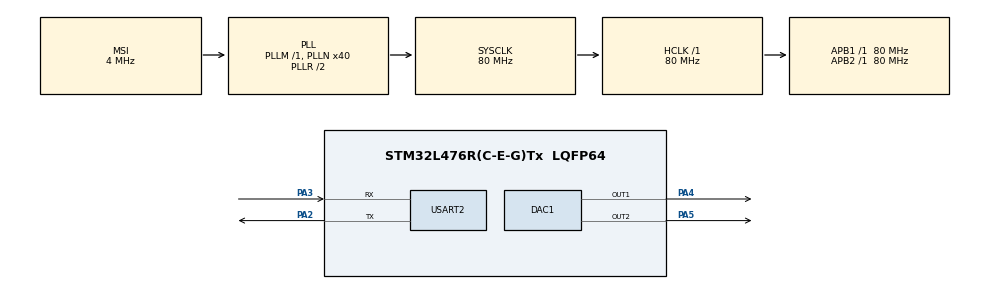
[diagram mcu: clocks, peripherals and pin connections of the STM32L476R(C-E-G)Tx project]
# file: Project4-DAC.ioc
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DAC1.DAC_Channel-DAC_OUT2=DAC_CHANNEL_2
DAC1.DAC_OutputBuffer-DAC_OUT1=DAC_OUTPUTBUFFER_ENABLE
DAC1.DAC_Trigger-DAC_OUT1=DAC_TRIGGER_T2_TRGO
DAC1.DAC_Trigger-DAC_OUT2=DAC_TRIGGER_T5_TRGO
Dma.DAC_CH1.0.Direction=DMA_MEMORY_TO_PERIPH
Dma.DAC_CH1.0.Instance=DMA1_Channel3
Dma.DAC_CH1.0.MemDataAlignment=DMA_MDATAALIGN_WORD
Dma.DAC_CH1.0.MemInc=DMA_MINC_ENABLE
Dma.DAC_CH1.0.Mode=DMA_CIRCULAR
Dma.DAC_CH1.0.PeriphDataAlignment=DMA_PDATAALIGN_WORD
Dma.DAC_CH1.0.PeriphInc=DMA_PINC_DISABLE
Dma.DAC_CH1.0.Priority=DMA_PRIORITY_LOW
Dma.DAC_CH2.1.Direction=DMA_MEMORY_TO_PERIPH
Dma.DAC_CH2.1.Instance=DMA1_Channel4
Dma.DAC_CH2.1.MemDataAlignment=DMA_MDATAALIGN_WORD
Dma.DAC_CH2.1.MemInc=DMA_MINC_ENABLE
Dma.DAC_CH2.1.Mode=DMA_CIRCULAR
Dma.DAC_CH2.1.PeriphDataAlignment=DMA_PDATAALIGN_WORD
Dma.DAC_CH2.1.PeriphInc=DMA_PINC_DISABLE
Dma.DAC_CH2.1.Priority=DMA_PRIORITY_LOW
Dma.Request0=DAC_CH1
Dma.Request1=DAC_CH2
FREERTOS.Queues01=CommandQueue,32,uint64_t,0,Dynamic,NULL,NULL
FREERTOS.RecursiveMutexes01=MUTEX,Dynamic,NULL
FREERTOS.Tasks01=Recieve,24,256,StartRecieve,Default,NULL,Dynamic,NULL,NULL;Process,24,256,StartProcess,Default,NULL,Dynamic,NULL,NULL
FREERTOS.configMINIMAL_STACK_SIZE=256
FREERTOS.configTOTAL_HEAP_SIZE=9000
FREERTOS.configUSE_IDLE_HOOK=0
FREERTOS.configUSE_NEWLIB_REENTRANT=1
FREERTOS.configUSE_PREEMPTION=1
Mcu.Family=STM32L4
Mcu.Name=STM32L476R(C-E-G)Tx
Mcu.Package=LQFP64
NVIC.DMA1_Channel3_IRQn=true\:5\:0\:false\:false\:true\:true\:false\:true\:true
NVIC.DMA1_Channel4_IRQn=true\:5\:0\:false\:false\:true\:true\:false\:true\:true
NVIC.PriorityGroup=NVIC_PRIORITYGROUP_4
PA2.Mode=Asynchronous
PA2.Signal=USART2_TX
PA3.Mode=Asynchronous
PA3.Signal=USART2_RX
PA4.Signal=COMP_DAC11_group
PA5.Signal=COMP_DAC12_group
ProjectManager.HeapSize=0x200
ProjectManager.StackSize=0x400
ProjectManager.TargetToolchain=STM32CubeIDE
RCC.ADCFreq_Value=32000000
RCC.AHBFreq_Value=80000000
RCC.APB1Freq_Value=80000000
RCC.APB1TimFreq_Value=80000000
RCC.APB2Freq_Value=80000000
RCC.APB2TimFreq_Value=80000000
RCC.CortexFreq_Value=80000000
RCC.HCLKFreq_Value=80000000
RCC.HSE_VALUE=8000000
RCC.HSI_VALUE=16000000
RCC.LSE_VALUE=32768
RCC.MSI_VALUE=4000000
RCC.PLLN=40
RCC.PLLSAI1N=16
RCC.SYSCLKFreq_VALUE=80000000
RCC.SYSCLKSource=RCC_SYSCLKSOURCE_PLLCLK
RCC.USBFreq_Value=32000000
RCC.VCOOutputFreq_Value=160000000
SH.COMP_DAC11_group.0=DAC1_OUT1,DAC_OUT1
SH.COMP_DAC12_group.0=DAC1_OUT2,DAC_OUT2
TIM2.Period=1000
TIM2.TIM_MasterOutputTrigger=TIM_TRGO_UPDATE
TIM5.Period=1000
TIM5.TIM_MasterOutputTrigger=TIM_TRGO_UPDATE
USART2.VirtualMode-Asynchronous=VM_ASYNC
VP_FREERTOS_VS_CMSIS_V2.Mode=CMSIS_V2
VP_RNG_VS_RNG.Mode=RNG_Activate
VP_TIM2_VS_ClockSourceINT.Mode=Internal
VP_TIM5_VS_ClockSourceINT.Mode=Internal
board=custom

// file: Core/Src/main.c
/* USER CODE BEGIN Header */
/**
  ******************************************************************************
  * @file           : main.c
  * @brief          : Main program body
  ******************************************************************************
  * @attention
  *
  * Copyright (c) 2024 STMicroelectronics.
  * All rights reserved.
  *
  * This software is licensed under terms that can be found in the LICENSE file
  * in the root directory of this software component.
  * If no LICENSE file comes with this software, it is provided AS-IS.
  *
  ******************************************************************************
  */
/* USER CODE END Header */
#include "main.h"
#include "cmsis_os.h"

DAC_HandleTypeDef hdac1;
DMA_HandleTypeDef hdma_dac_ch1;
DMA_HandleTypeDef hdma_dac_ch2;

RNG_HandleTypeDef hrng;

TIM_HandleTypeDef htim2;
TIM_HandleTypeDef htim5;

UART_HandleTypeDef huart2;

/* Definitions for Recieve */
osThreadId_t RecieveHandle;
const osThreadAttr_t Recieve_attributes = {
  .name = "Recieve",
  .stack_size = 256 * 4,
  .priority = (osPriority_t) osPriorityNormal,
};
/* Definitions for Process */
osThreadId_t ProcessHandle;
const osThreadAttr_t Process_attributes = {
  .name = "Process",
  .stack_size = 256 * 4,
  .priority = (osPriority_t) osPriorityNormal,
};
/* Definitions for CommandQueue */
osMessageQueueId_t CommandQueueHandle;
const osMessageQueueAttr_t CommandQueue_attributes = {
  .name = "CommandQueue"
};
/* Definitions for MUTEX */
osMutexId_t MUTEXHandle;
const osMutexAttr_t MUTEX_attributes = {
  .name = "MUTEX",
  .attr_bits = osMutexRecursive,
};

void SystemClock_Config(void);
static void MX_GPIO_Init(void);
static void MX_DMA_Init(void);
static void MX_DAC1_Init(void);
static void MX_RNG_Init(void);
static void MX_TIM2_Init(void);
static void MX_USART2_UART_Init(void);
static void MX_TIM5_Init(void);
void StartRecieve(void *argument);
void StartProcess(void *argument);

/* USER CODE BEGIN 0 */
struct user_command *command;
/* USER CODE END 0 */

int main(void)
{
  /* USER CODE BEGIN 1 */
	command = (struct user_command *)malloc(sizeof(struct user_command));
		if(command == NULL){
			exit(99);
		}
		command->channel = 0;
		command->frequency = 0.0;
		command->maxv = 0.0;
		command->minv = 0.0;
		command->noise = 0;
		command->wave = 'n';

  /* USER CODE END 1 */

  /* MCU Configuration--------------------------------------------------------*/

  /* Reset of all peripherals, Initializes the Flash interface and the Systick. */
  HAL_Init();

  /* Configure the system clock */
  SystemClock_Config();

  /* Initialize all configured peripherals */
  MX_GPIO_Init();
  MX_DMA_Init();
  MX_DAC1_Init();
  MX_RNG_Init();
  MX_TIM2_Init();
  MX_USART2_UART_Init();
  MX_TIM5_Init();
  /* USER CODE BEGIN 2 */
  HAL_TIM_Base_Start(&htim2);
  HAL_TIM_Base_Start(&htim5);

  /* USER CODE END 2 */

  /* Init scheduler */
  osKernelInitialize();

  /* Create the recursive mutex(es) */
  /* creation of MUTEX */
  MUTEXHandle = osMutexNew(&MUTEX_attributes);

  /* Create the queue(s) */
  /* creation of CommandQueue */
  CommandQueueHandle = osMessageQueueNew (32, sizeof(uint64_t), &CommandQueue_attributes);

  /* Create the thread(s) */
  /* creation of Recieve */
  RecieveHandle = osThreadNew(StartRecieve, NULL, &Recieve_attributes);

  /* creation of Process */
  ProcessHandle = osThreadNew(StartProcess, NULL, &Process_attributes);

  /* Start scheduler */
  osKernelStart();

  /* We should never get here as control is now taken by the scheduler */
  /* Infinite loop */
  while (1)
  {

  }
}

void SystemClock_Config(void)
{
  RCC_OscInitTypeDef RCC_OscInitStruct = {0};
  RCC_ClkInitTypeDef RCC_ClkInitStruct = {0};

  /** Configure the main internal regulator output voltage
  */
  if (HAL_PWREx_ControlVoltageScaling(PWR_REGULATOR_VOLTAGE_SCALE1) != HAL_OK)
  {
    Error_Handler();
  }

  /** Initializes the RCC Oscillators according to the specified parameters
  * in the RCC_OscInitTypeDef structure.
  */
  RCC_OscInitStruct.OscillatorType = RCC_OSCILLATORTYPE_MSI;
  RCC_OscInitStruct.MSIState = RCC_MSI_ON;
  RCC_OscInitStruct.MSICalibrationValue = 0;
  RCC_OscInitStruct.MSIClockRange = RCC_MSIRANGE_6;
  RCC_OscInitStruct.PLL.PLLState = RCC_PLL_ON;
  RCC_OscInitStruct.PLL.PLLSource = RCC_PLLSOURCE_MSI;
  RCC_OscInitStruct.PLL.PLLM = 1;
  RCC_OscInitStruct.PLL.PLLN = 40;
  RCC_OscInitStruct.PLL.PLLP = RCC_PLLP_DIV7;
  RCC_OscInitStruct.PLL.PLLQ = RCC_PLLQ_DIV2;
  RCC_OscInitStruct.PLL.PLLR = RCC_PLLR_DIV2;
  if (HAL_RCC_OscConfig(&RCC_OscInitStruct) != HAL_OK)
  {
    Error_Handler();
  }

  /** Initializes the CPU, AHB and APB buses clocks
  */
  RCC_ClkInitStruct.ClockType = RCC_CLOCKTYPE_HCLK|RCC_CLOCKTYPE_SYSCLK
                              |RCC_CLOCKTYPE_PCLK1|RCC_CLOCKTYPE_PCLK2;
  RCC_ClkInitStruct.SYSCLKSource = RCC_SYSCLKSOURCE_PLLCLK;
  RCC_ClkInitStruct.AHBCLKDivider = RCC_SYSCLK_DIV1;
  RCC_ClkInitStruct.APB1CLKDivider = RCC_HCLK_DIV1;
  RCC_ClkInitStruct.APB2CLKDivider = RCC_HCLK_DIV1;

  if (HAL_RCC_ClockConfig(&RCC_ClkInitStruct, FLASH_LATENCY_4) != HAL_OK)
  {
    Error_Handler();
  }
}

static void MX_DAC1_Init(void)
{

  DAC_ChannelConfTypeDef sConfig = {0};

  /** DAC Initialization
  */
  hdac1.Instance = DAC1;
  if (HAL_DAC_Init(&hdac1) != HAL_OK)
  {
    Error_Handler();
  }

  /** DAC channel OUT1 config
  */
  sConfig.DAC_SampleAndHold = DAC_SAMPLEANDHOLD_DISABLE;
  sConfig.DAC_Trigger = DAC_TRIGGER_T2_TRGO;
  sConfig.DAC_OutputBuffer = DAC_OUTPUTBUFFER_ENABLE;
  sConfig.DAC_ConnectOnChipPeripheral = DAC_CHIPCONNECT_DISABLE;
  sConfig.DAC_UserTrimming = DAC_TRIMMING_FACTORY;
  if (HAL_DAC_ConfigChannel(&hdac1, &sConfig, DAC_CHANNEL_1) != HAL_OK)
  {
    Error_Handler();
  }

  /** DAC channel OUT2 config
  */
  sConfig.DAC_Trigger = DAC_TRIGGER_T5_TRGO;
  if (HAL_DAC_ConfigChannel(&hdac1, &sConfig, DAC_CHANNEL_2) != HAL_OK)
  {
    Error_Handler();
  }

}

static void MX_RNG_Init(void)
{

  hrng.Instance = RNG;
  if (HAL_RNG_Init(&hrng) != HAL_OK)
  {
    Error_Handler();
  }

}

static void MX_TIM2_Init(void)
{

  TIM_ClockConfigTypeDef sClockSourceConfig = {0};
  TIM_MasterConfigTypeDef sMasterConfig = {0};

  htim2.Instance = TIM2;
  htim2.Init.Prescaler = 0;
  htim2.Init.CounterMode = TIM_COUNTERMODE_UP;
  htim2.Init.Period = 1000;
  htim2.Init.ClockDivision = TIM_CLOCKDIVISION_DIV1;
  htim2.Init.AutoReloadPreload = TIM_AUTORELOAD_PRELOAD_DISABLE;
  if (HAL_TIM_Base_Init(&htim2) != HAL_OK)
  {
    Error_Handler();
  }
  sClockSourceConfig.ClockSource = TIM_CLOCKSOURCE_INTERNAL;
  if (HAL_TIM_ConfigClockSource(&htim2, &sClockSourceConfig) != HAL_OK)
  {
    Error_Handler();
  }
  sMasterConfig.MasterOutputTrigger = TIM_TRGO_UPDATE;
  sMasterConfig.MasterSlaveMode = TIM_MASTERSLAVEMODE_DISABLE;
  if (HAL_TIMEx_MasterConfigSynchronization(&htim2, &sMasterConfig) != HAL_OK)
  {
    Error_Handler();
  }

}

static void MX_TIM5_Init(void)
{

  TIM_ClockConfigTypeDef sClockSourceConfig = {0};
  TIM_MasterConfigTypeDef sMasterConfig = {0};

  htim5.Instance = TIM5;
  htim5.Init.Prescaler = 0;
  htim5.Init.CounterMode = TIM_COUNTERMODE_UP;
  htim5.Init.Period = 1000;
  htim5.Init.ClockDivision = TIM_CLOCKDIVISION_DIV1;
  htim5.Init.AutoReloadPreload = TIM_AUTORELOAD_PRELOAD_DISABLE;
  if (HAL_TIM_Base_Init(&htim5) != HAL_OK)
  {
    Error_Handler();
  }
  sClockSourceConfig.ClockSource = TIM_CLOCKSOURCE_INTERNAL;
  if (HAL_TIM_ConfigClockSource(&htim5, &sClockSourceConfig) != HAL_OK)
  {
    Error_Handler();
  }
  sMasterConfig.MasterOutputTrigger = TIM_TRGO_UPDATE;
  sMasterConfig.MasterSlaveMode = TIM_MASTERSLAVEMODE_DISABLE;
  if (HAL_TIMEx_MasterConfigSynchronization(&htim5, &sMasterConfig) != HAL_OK)
  {
    Error_Handler();
  }

}

static void MX_USART2_UART_Init(void)
{

  huart2.Instance = USART2;
  huart2.Init.BaudRate = 115200;
  huart2.Init.WordLength = UART_WORDLENGTH_8B;
  huart2.Init.StopBits = UART_STOPBITS_1;
  huart2.Init.Parity = UART_PARITY_NONE;
  huart2.Init.Mode = UART_MODE_TX_RX;
  huart2.Init.HwFlowCtl = UART_HWCONTROL_NONE;
  huart2.Init.OverSampling = UART_OVERSAMPLING_16;
  huart2.Init.OneBitSampling = UART_ONE_BIT_SAMPLE_DISABLE;
  huart2.AdvancedInit.AdvFeatureInit = UART_ADVFEATURE_NO_INIT;
  if (HAL_UART_Init(&huart2) != HAL_OK)
  {
    Error_Handler();
  }

}

static void MX_DMA_Init(void)
{

  /* DMA controller clock enable */
  __HAL_RCC_DMA1_CLK_ENABLE();

  /* DMA interrupt init */
  /* DMA1_Channel3_IRQn interrupt configuration */
  HAL_NVIC_SetPriority(DMA1_Channel3_IRQn, 5, 0);
  HAL_NVIC_EnableIRQ(DMA1_Channel3_IRQn);
  /* DMA1_Channel4_IRQn interrupt configuration */
  HAL_NVIC_SetPriority(DMA1_Channel4_IRQn, 5, 0);
  HAL_NVIC_EnableIRQ(DMA1_Channel4_IRQn);

}

static void MX_GPIO_Init(void)
{

  /* GPIO Ports Clock Enable */
  __HAL_RCC_GPIOA_CLK_ENABLE();

}

void StartRecieve(void *argument)
{
  /* USER CODE BEGIN 5 */
	char command_buffer[100];
	char print_buffer[256];
	int i = 0;
	int print_size = 0;
	int valid_entry = 0;
	print_size = sprintf(print_buffer, "Welcome to the Signal Generator!\r\nEnter signal parameters to get started: <gen> <channel> <type> <frequency> <min v> <max v> <noise>\r\n");
	HAL_UART_Transmit(&huart2, (uint8_t*)print_buffer, print_size, 100);
  /* Infinite loop */
  for(;;)
  {
	    osMutexAcquire(MUTEXHandle, osWaitForever);
	  	uint8_t c = 0;
	  	HAL_UART_Receive(&huart2, &c, 1, 100);					// Read and print inputted char

	  	if ((char)c == '\r'){
//	  		if enter is pressed, process command to see if valid
	  		HAL_UART_Transmit(&huart2, (uint8_t *)"\r\n", 2, 100);
	  		command_buffer[i] = '\0';
//	  		command_buffer[i+1] = '\n';
//	  		command_buffer[i+2] = '\0';
//	  		print_size = sprintf(print_buffer, command_buffer);
//	  		HAL_UART_Transmit(&huart2, (uint8_t*)print_buffer, print_size, 100);		// prints inputted command
	  		char* word = strtok(command_buffer, " ");									// split string to just command name
	  		i = 0;																		// reset index
	  		valid_entry = 1;															// by default, valid input - later conditions alter if needed

	  		word = strtok(NULL, " ");													// split to next info
	  		int ivalue = atoi(word);
	  		if (ivalue >= 3 || ivalue <= 0){											// check if channel value valid
	  			valid_entry = 0;														// if not make command invalid
	  			print_size = sprintf(print_buffer, "Channel value must be 1 or 2\r\n");
	  			HAL_UART_Transmit(&huart2, (uint8_t*)print_buffer, print_size, 100);
	  		}
	  		command->channel = ivalue;

	  		word = strtok(NULL, " ");
	  		if (*word != 'A' && *word != 'R' && *word != 'S' && *word != 'T'){			// check if wave type is valid
	  			valid_entry = 0;														// if not make command invalid
	  			print_size = sprintf(print_buffer, "Wave type must be S = sine, T = triangle, R = rectangle or A = arbitrary/EKG\r\n");
	  			HAL_UART_Transmit(&huart2, (uint8_t*)print_buffer, print_size, 100);
	  		}
	  		command->wave = *word;

	  		word = strtok(NULL, " ");
	  		double fvalue = atof(word);
	  		if ((fvalue > 10000 || fvalue < 0.5) && fvalue != 0){							// check if frequncy value is valid
	  			valid_entry = 0;														// if not make command invalid
	  			print_size = sprintf(print_buffer, "Frequency must be between 0.5 Hz and 10 kHz, or 0 for DC\r\n");
	  			HAL_UART_Transmit(&huart2, (uint8_t*)print_buffer, print_size, 100);
	  		}
	  		command->frequency = fvalue;

	  		word = strtok(NULL, " ");
	  		fvalue = atof(word);
	  		if (fvalue > 3.3 || fvalue < 0){											// check if min voltage value is valid
	  			valid_entry = 0;														// if not make command invalid
	  			print_size = sprintf(print_buffer, "Min Voltage must be between 0v and 3.3v\r\n");
	  			HAL_UART_Transmit(&huart2, (uint8_t*)print_buffer, print_size, 100);
	  		}
	  		command->minv = fvalue;

	  		word = strtok(NULL, " ");
	  		fvalue = atof(word);
	  		if (fvalue > 3.3 || fvalue < 0){											// check if max voltage value is valid
	  			valid_entry = 0;														// if not make command invalid
	  			print_size = sprintf(print_buffer, "Max Voltage must be between 0v and 3.3v\r\n");
	  			HAL_UART_Transmit(&huart2, (uint8_t*)print_buffer, print_size, 100);
	  		} else if (fvalue <= command->minv){										// check if max voltage value is less than min voltage
	  			valid_entry = 0;														// if not make command invalid
	  			print_size = sprintf(print_buffer, "Max Voltage must be between less than Min Voltage\r\n");
	  			HAL_UART_Transmit(&huart2, (uint8_t*)print_buffer, print_size, 100);
	  		}
	  		command->maxv = fvalue;

	  		word = strtok(NULL, " ");
	  		ivalue = atoi(word);
	  		if (ivalue > 12 || ivalue < 0){												// check if noise value is valid
	  			valid_entry = 0;														// if not make command invalid
	  			print_size = sprintf(print_buffer, "Noise value must be between 0 and 12 (inclusive)\r\n");
	  			HAL_UART_Transmit(&huart2, (uint8_t*)print_buffer, print_size, 100);
	  		}
	  		command->noise = ivalue;

  			if (valid_entry){													// if command is valid, then add to queue
				osMessageQueuePut(CommandQueueHandle, &command, 0, 0);
				valid_entry = 0;
				print_size = sprintf(print_buffer, "Generating signal with:\r\nChannel: %d\r\nType: %c\r\nFrequency: %f\r\nMin Voltage: %f\r\nMax Voltage: %f\r\nNoise: %d\r\n", command->channel, command->wave, command->frequency, command->maxv, command->minv, command->noise);
				HAL_UART_Transmit(&huart2, (uint8_t*)print_buffer, print_size, 100);
				sprintf(print_buffer, "DAC Frequency %f \r\n", (float)(80000000.0 / ((float)SAMPLES * (float)command->frequency)));
				HAL_UART_Transmit(&huart2, (uint8_t *)print_buffer, strlen(print_buffer), 100);
				sprintf(print_buffer, "Number of Samples: %d \r\n", SAMPLES);
				HAL_UART_Transmit(&huart2, (uint8_t *)print_buffer, strlen(print_buffer), 100);
				sprintf(print_buffer, "Voltage Range: %.2f V - %.2f V \r\n", command->minv, command->maxv);
				HAL_UART_Transmit(&huart2, (uint8_t *)print_buffer, strlen(print_buffer), 100);
				sprintf(print_buffer, "DAC Voltage Range: %.2f V - %.2f \r\n", ((4096.0f/3.3f) * command->minv), ((4096.0f/3.3f) * command->maxv));
				HAL_UART_Transmit(&huart2, (uint8_t *)print_buffer, strlen(print_buffer), 100);
  			} else {
  				print_size = sprintf(print_buffer, "At least one parameter is missing, please try again and verify your parameters:\r\n");
  				HAL_UART_Transmit(&huart2, (uint8_t*)print_buffer, print_size, 100);
  				print_size = sprintf(print_buffer, "<gen> <channel> <type> <frequency> <min v> <max v> <noise>\r\n");
  				HAL_UART_Transmit(&huart2, (uint8_t*)print_buffer, print_size, 100);
  			}

	  	} else if ((c == 8 || c == 127) && (i >= 1)){
	  		command_buffer[--i] = '\0';
	  		print_size = sprintf(print_buffer, "%c %c", 8, 8);
	  		HAL_UART_Transmit(&huart2, (uint8_t*)print_buffer, print_size, 100);
	  	} else if (c != 0){						// if character is valid and not enter key
	  		HAL_UART_Transmit(&huart2, &c, 1, 100);
	  		command_buffer[i] = c;				// add to buffer to save
	  		i++;
	  	}
	  	osMutexRelease(MUTEXHandle);
	  	osThreadYield();

  }
  /* USER CODE END 5 */
}

void StartProcess(void *argument)
{
  /* USER CODE BEGIN StartProcess */
  /* Infinite loop */
  for(;;)
  {
	  osMutexAcquire(MUTEXHandle, osWaitForever);
	 			  if(osMessageQueueGetCount(CommandQueueHandle) != 0){
	 				  char buf[256];
	 				  struct user_command *cmd = (struct user_command *)malloc(sizeof(struct user_command));
	 				  if(cmd == NULL){
	 					  exit(98);
	 				  }
	 				  osMessageQueueGet(CommandQueueHandle, &cmd, 0, 0);
	 				  sig_gen(cmd, &hrng, &hdac1);
	 				  sprintf(buf,"\r\n Enter another wave generation! \r\n");
	 				  HAL_UART_Transmit(&huart2, (uint8_t *)buf, strlen(buf), 100);
	 				  free(cmd);

	 		  }

	 			  osMutexRelease(MUTEXHandle);
	 		   vTaskDelay(100);
  }
  /* USER CODE END StartProcess */
}

void Error_Handler(void)
{
  __disable_irq();
  while (1)
  {
  }
}
